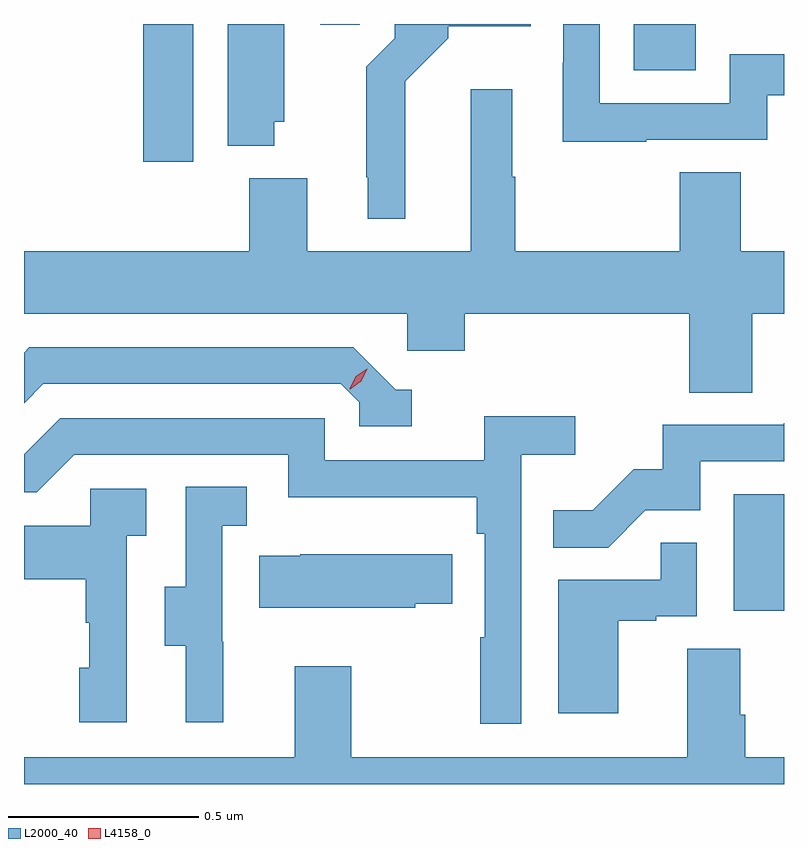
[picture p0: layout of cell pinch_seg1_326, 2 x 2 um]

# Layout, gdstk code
import gdstk
lib = gdstk.Library(unit=1e-6, precision=1e-09)
def R(c, l, rs):  # rectangles x0, y0, x1, y1
    for r in rs: c.add(gdstk.rectangle(r[:2], r[2:], *l))
def P(c, l, *ps):  # polygons
    for p in ps: c.add(gdstk.Polygon(p, *l))
L2000_40 = (2000, 40)
L4158_0 = (4158, 0)

pinch_seg1_326 = lib.new_cell('pinch_seg1_326')
R(pinch_seg1_326, L2000_40, [(989.648,542.958,989.78,543.265), (988.094,544.14,988.225,544.502), (989.384,544.38,989.548,544.502), (988.559,544.5,988.663,544.502)])
P(pinch_seg1_326, L2000_40, [(988.438,544.245),(988.465,544.245),(988.465,544.502),(988.316,544.502),(988.316,544.181),(988.438,544.181)],
  [(989.417,544.197),(989.736,544.197),(989.736,544.314),(989.78,544.314),(989.78,544.422),(989.637,544.422),(989.637,544.293),(989.295,544.293),(989.295,544.502),(989.199,544.502),(989.199,544.4),(989.198,544.4),(989.198,544.192),(989.417,544.192)],
  [(988.783,544.352),(988.896,544.465),(988.896,544.496),(989.113,544.496),(989.113,544.502),(988.755,544.502),(988.755,544.464),(988.681,544.39),(988.681,544.099),(988.685,544.099),(988.685,543.989),(988.783,543.989)],
  [(989.696,543.74),(989.78,543.74),(989.78,543.904),(989.666,543.904),(989.666,544.112),(989.506,544.112),(989.506,543.904),(989.073,543.904),(989.073,544.1),(989.065,544.1),(989.065,544.33),(988.955,544.33),(988.955,543.904),(988.525,543.904),(988.525,544.096),(988.373,544.096),(988.373,543.904),(987.78,543.904),(987.78,543.74),(988.788,543.74),(988.788,543.642),(988.94,543.642),(988.94,543.74),(989.531,543.74),(989.531,543.532),(989.696,543.532)],
  [(988.801,543.54),(988.758,543.54),(988.647,543.651),(987.794,543.651),(987.78,543.637),(987.78,543.504),(987.831,543.555),(988.614,543.555),(988.662,543.507),(988.662,543.444),(988.801,543.444)],
  [(989.088,543.368),(989.23,543.368),(989.23,543.47),(988.991,543.47),(988.991,543.354),(988.572,543.354),(988.572,543.465),(987.875,543.465),(987.78,543.37),(987.78,543.27),(987.813,543.27),(987.912,543.369),(988.476,543.369),(988.476,543.257),(988.972,543.257),(988.972,543.161),(988.992,543.161),(988.992,542.888),(988.98,542.888),(988.98,542.661),(989.088,542.661)],
  [(989.415,543.222),(989.559,543.222),(989.559,543.351),(989.78,543.351),(989.78,543.452),(989.779,543.452),(989.779,543.447),(989.461,543.447),(989.461,543.33),(989.384,543.33),(989.277,543.223),(989.173,543.223),(989.173,543.124),(989.317,543.124)],
  [(988.304,542.877),(988.302,542.877),(988.302,543.181),(988.366,543.181),(988.366,543.284),(988.206,543.284),(988.206,543.021),(988.151,543.021),(988.151,542.866),(988.205,542.866),(988.205,542.664),(988.304,542.664)],
  [(988.05,543.155),(988.102,543.155),(988.102,543.279),(987.954,543.279),(987.954,543.181),(987.78,543.181),(987.78,543.041),(987.942,543.041),(987.942,542.927),(987.952,542.927),(987.952,542.808),(987.926,542.808),(987.926,542.664),(988.05,542.664)],
  [(989.344,542.931),(989.444,542.931),(989.444,542.943),(989.55,542.943),(989.55,543.137),(989.455,543.137),(989.455,543.039),(989.186,543.039),(989.186,542.688),(989.344,542.688)],
  [(988.809,542.977),(988.907,542.977),(988.907,543.106),(988.507,543.106),(988.507,543.103),(988.399,543.103),(988.399,542.966),(988.809,542.966)],
  [(989.78,542.572),(989.678,542.572),(989.678,542.684),(989.665,542.684),(989.665,542.858),(989.525,542.858),(989.525,542.572),(988.641,542.572),(988.641,542.812),(988.493,542.812),(988.493,542.572),(987.78,542.572),(987.78,542.502),(989.78,542.502)])
P(pinch_seg1_326, L4158_0, [(988.637,543.541),(988.637,543.542),(988.653,543.575),(988.683,543.595),(988.683,543.595),(988.683,543.595),(988.668,543.562),(988.638,543.541)])

lib.write_gds('pinch_seg1_326.gds')
